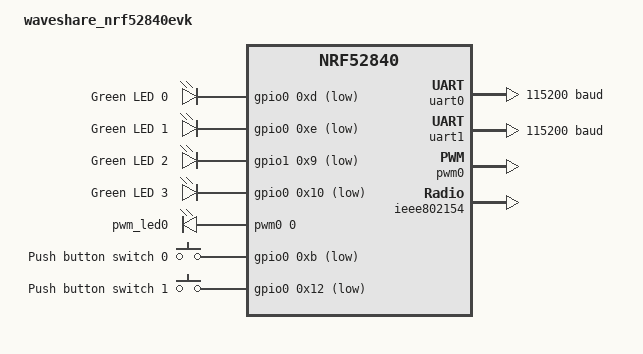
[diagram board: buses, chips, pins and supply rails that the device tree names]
// Copyright (c) 2023 Nordic Semiconductor ASA
// SPDX-License-Identifier: Apache-2.0

/dts-v1/;
#include <nordic/nrf52840_qiaa.dtsi>
#include "waveshare_nrf52840evk-pinctrl.dtsi"

/ {
	model = "waveshare_nrf52840evk";
	compatible = "waveshare,waveshare-nrf52840evk";

	chosen {
		zephyr,console = &uart0;
		zephyr,shell-uart = &uart0;
		zephyr,uart-mcumgr = &uart0;
		zephyr,bt-mon-uart = &uart0;
		zephyr,bt-c2h-uart = &uart0;
		zephyr,sram = &sram0;
		zephyr,flash = &flash0;
		zephyr,code-partition = &slot0_partition;
		zephyr,ieee802154 = &ieee802154;
	};
	aliases {
		led0 = &led0;
		led1 = &led1;
		led2 = &led2;
		led3 = &led3;
		pwm-led0 = &pwm_led0;
		sw0 = &button0;
		sw1 = &button1;
	};

	leds {
		compatible = "gpio-leds";
		led0: led_0 {
			gpios = < &gpio0 0xd 0x1 >;
			label = "Green LED 0";
		};
		led1: led_1 {
			gpios = < &gpio0 0xe 0x1 >;
			label = "Green LED 1";
		};
		led2: led_2 {
			gpios = < &gpio1 0x9 0x1 >;
			label = "Green LED 2";
		};
		led3: led_3 {
			gpios = < &gpio0 0x10 0x1 >;
			label = "Green LED 3";
		};
	};

	pwmleds {
		compatible = "pwm-leds";
		pwm_led0: pwm_led_0 {
			pwms = <&pwm0 0 PWM_MSEC(20) PWM_POLARITY_INVERTED>;
		};
	};

	buttons {
		compatible = "gpio-keys";
		button0: button_0 {
			gpios = < &gpio0 0xb 0x11 >;
			label = "Push button switch 0";
		};
		button1: button_1 {
			gpios = < &gpio0 0x12 0x11 >;
			label = "Push button switch 1";
		};
	};
};

&gpiote {
	status = "okay";
};

&gpio0 {
	status = "okay";
};

&gpio1 {
	status = "okay";
};

&uart0 {
	compatible = "nordic,nrf-uarte";
	status = "okay";
	current-speed = <115200>;
	pinctrl-0 = <&uart0_default>;
	pinctrl-1 = <&uart0_sleep>;
	pinctrl-names = "default", "sleep";
};

arduino_serial: &uart1 {
	status = "okay";
	current-speed = <115200>;
	pinctrl-0 = <&uart1_default>;
	pinctrl-1 = <&uart1_sleep>;
	pinctrl-names = "default", "sleep";
};

&pwm0 {
	status = "okay";
	pinctrl-0 = <&pwm0_default>;
	pinctrl-1 = <&pwm0_sleep>;
	pinctrl-names = "default", "sleep";
};

&ieee802154 {
	status = "okay";
};

&flash0 {
	partitions {
		compatible = "fixed-partitions";
		#address-cells = <1>;
		#size-cells = <1>;

		boot_partition: partition@0 {
			label = "mcuboot";
			reg = <0x0 0xc000>;
		};
		slot0_partition: partition@c000 {
			label = "image-0";
			reg = <0xc000 0x72000>;
		};
		slot1_partition: partition@7e000 {
			label = "image-1";
			reg = <0x7e000 0x72000>;
		};
		scratch_partition: partition@f0000 {
			label = "image-scratch";
			reg = <0xf0000 0xa000>;
		};
		storage_partition: partition@fa000 {
			label = "storage";
			reg = <0xfa000 0x6000>;
		};
	};
};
